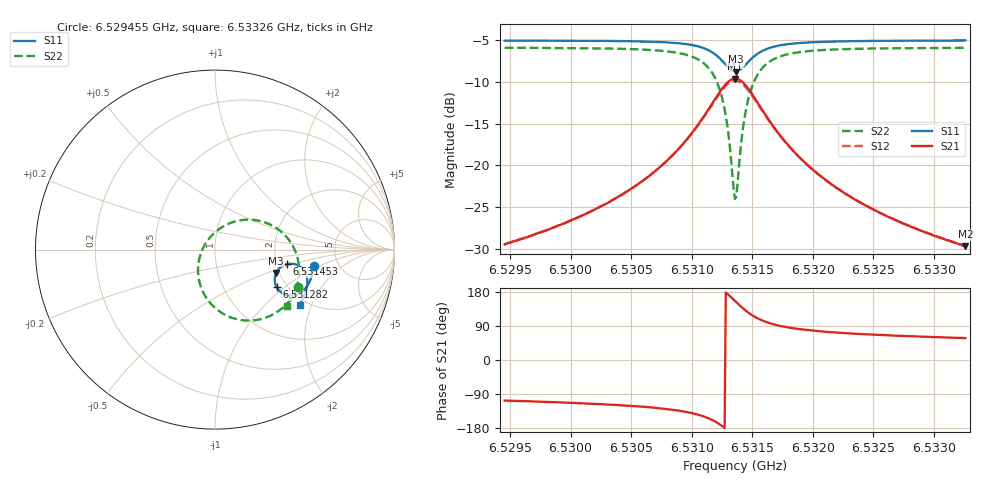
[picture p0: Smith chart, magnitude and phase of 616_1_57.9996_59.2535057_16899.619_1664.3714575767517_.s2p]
#  HZ  S  RI  R  50.00
! Rohde & Schwarz Vector Network Analyzer
! Rohde-Schwarz,ZNB20-2Port,1311601062101988,3.16
! Created: UTC 3/21/2024, 1:17:56 AM
! freq[Hz]  re:S11  im:S11  re:S21  im:S21  re:S12  im:S12  re:S22  im:S22
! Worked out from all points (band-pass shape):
!   401 points, 6.529455 GHz to 6.53326 GHz, reference 50 ohm
!   highest |S21| = -9.59 dB at 6.531358 GHz (marker M1); lowest = -29.7 dB at 6.53326 GHz (marker M2)
!   |S21| within 3 dB of the highest: 6.531169 GHz to 6.531549 GHz (380 kHz wide, 0.00582 % of centre)
!   lowest |S11| = -8.8 dB at 6.531367 GHz (marker M3), VSWR 2.15, Z = 95.9 - j28.9 ohm
!   |S11| at or under -10 dB: nowhere
!   |S22| runs from -24.0 to -5.9 dB; largest |S21 - S12| = 0.014
!   S11 on the Smith chart (normalised r, x): 6.529455 GHz: 3.30, -0.88; 6.531282 GHz: 1.77, -0.88; 6.531453 GHz: 2.27, -0.44; 6.53326 GHz: 1.83, -1.64
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6.5294555e9  0.5533 -0.0909  -0.00981 -0.032  -0.0106 -0.0318  0.4634 -0.2084
6.5300927e9  0.5404 -0.1446  -0.0204 -0.0454  -0.0218 -0.0449  0.4283 -0.2679
6.5304256e9  0.5284 -0.1761  -0.0329 -0.0579  -0.0345 -0.0572  0.3951 -0.3072
6.53073e9  0.5087 -0.2099  -0.0581 -0.077  -0.0604 -0.0753  0.3384 -0.3526
6.5309487e9  0.4791 -0.2386  -0.1015 -0.0961  -0.1045 -0.0924  0.2508 -0.3885
6.5311199e9  0.428 -0.2562  -0.1816 -0.0989  -0.1833 -0.091  0.1061 -0.3837
6.531215e9  0.3787 -0.2448  -0.257 -0.0623  -0.2545 -0.0512  -0.0176 -0.3074
6.5312816e9  0.3433 -0.2091  -0.3069 0.00956  -0.2986 0.0197  -0.087 -0.1783
6.5313101e9  0.3345 -0.185  -0.3165 0.0541  -0.3056 0.0621  -0.0943 -0.1032
6.5313387e9  0.3332 -0.1577  -0.3134 0.1028  -0.3009 0.108  -0.0796 -0.0242
6.5313577e9  0.3372 -0.1393  -0.3029 0.1349  -0.2903 0.1378  -0.057 0.0262
6.5313672e9  0.3405 -0.1304  -0.2954 0.15  -0.283 0.1518  -0.042 0.0494
6.5313767e9  0.345 -0.1221  -0.2866 0.1645  -0.2743 0.1651  -0.0247 0.071
6.5314243e9  0.3767 -0.0905  -0.2267 0.2173  -0.2172 0.2139  0.0825 0.1468
6.5314528e9  0.3993 -0.0813  -0.1861 0.2323  -0.1789 0.2283  0.1517 0.1646
6.5315194e9  0.4462 -0.0819  -0.1044 0.2314  -0.101 0.2276  0.2878 0.1479
6.5316145e9  0.4868 -0.1063  -0.0357 0.1949  -0.0341 0.1929  0.398 0.0711
6.5317572e9  0.5095 -0.1446  0.00438 0.1428  0.00566 0.142  0.4561 -0.0329
6.5319949e9  0.5145 -0.1894  0.0204 0.0925  0.0215 0.0923  0.4679 -0.1361
6.5322898e9  0.5078 -0.2263  0.0221 0.0623  0.0231 0.0619  0.4551 -0.2049
6.5326322e9  0.496 -0.2588  0.0205 0.0441  0.0214 0.0439  0.4356 -0.2538
6.5332599e9  0.4708 -0.3069  0.0175 0.0276  0.0181 0.0273  0.4004 -0.3116
